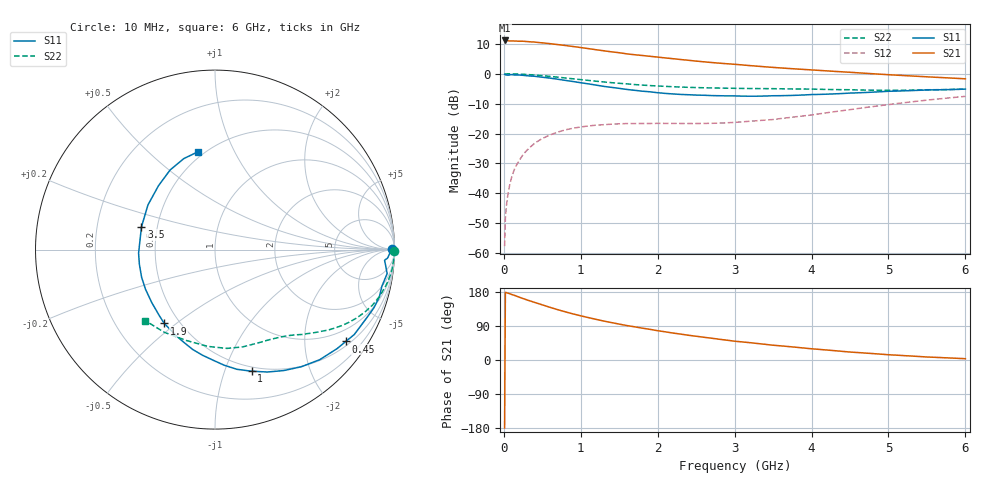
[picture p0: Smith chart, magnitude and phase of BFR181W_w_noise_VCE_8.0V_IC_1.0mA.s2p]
! Infineon Technologies  Discrete & RF Semiconductors
! BFR181W
! VCE =  8.0 V,  IC =  1.0 mA
! Common Emitter S-Parameters:  Jan 2017
# GHz  S  MA  R  50
!  f  S11  S21  S12  S22
! GHz  MAG  ANG  MAG  ANG  MAG  ANG  MAG  ANG
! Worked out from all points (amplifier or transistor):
!   77 points, 10 MHz to 6 GHz, reference 50 ohm
!   highest |S21| = 11.2 dB at 10 MHz (marker M1)
!   |S21| within 3 dB of that: start of sweep to 1.171 GHz
!   unconditionally stable (mu >= 1): 2.364 GHz to 4.321 GHz
!   at 130 MHz: K = 0.04, MSG = 21.7 dB, |S12| = -32.5 dB
!   at 2.2 GHz: K = 0.94, MSG = 10.8 dB, |S12| = -16.6 dB
!   at 6 GHz: K = 0.83, MSG = 2.9 dB, |S12| = -7.6 dB
!   lowest NFmin = 0.87 dB at 450 MHz
!   S11 on the Smith chart (normalised r, x): 10 MHz: open; 450 MHz: 0.62, -3.05; 1 GHz: 0.46, -1.24; 1.9 GHz: 0.41, -0.45; 3.5 GHz: 0.41, +0.13; 6 GHz: 0.46, +0.73
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0.01  0.9843 0.1  3.614 -179.5  0.0013 85.4  1 -0.5
0.02  0.9628 -2.8  3.576 178.6  0.0038 100.6  0.9946 -0.7
0.03  0.9574 -3.1  3.571 178.0  0.0055 92.0  0.9961 -1.1
0.06  0.9506 -4.5  3.557 176.0  0.0108 85.1  0.9986 -2.4
0.11  0.9647 -8.8  3.544 172.4  0.02 85.1  0.9952 -4.5
0.25  0.943 -20.1  3.507 162.2  0.0444 76.7  0.981 -10.1
0.45  0.8904 -35.1  3.34 148.8  0.0754 67.1  0.9415 -17.6
0.6  0.8467 -46.4  3.197 139.0  0.0948 60.5  0.9047 -22.6
0.7  0.8108 -53.6  3.081 132.8  0.1055 56.7  0.878 -25.6
0.8  0.7756 -60.3  2.978 127.1  0.1152 53.1  0.8503 -28.4
1  0.7079 -73.2  2.75 116.6  0.1286 46.9  0.7981 -33.2
1.1  0.6781 -79.6  2.638 111.8  0.1339 44.5  0.7749 -35.3
1.3  0.6153 -91.2  2.427 102.7  0.1406 39.9  0.7302 -39.1
1.5  0.57 -102.6  2.253 94.7  0.1453 37.1  0.6926 -42.6
1.9  0.4992 -124.5  1.962 80.9  0.1472 34.1  0.6346 -48.9
2.1  0.4691 -134.8  1.842 74.3  0.1477 34.0  0.6156 -51.9
2.5  0.4401 -154.7  1.632 62.7  0.1472 36.2  0.5879 -58.4
3.1  0.4226 178.7  1.406 47.7  0.1569 43.8  0.5688 -67.6
3.5  0.4288 162.8  1.279 39.0  0.1716 49.4  0.5636 -74.2
4.1  0.4517 143.2  1.139 28.0  0.2135 54.7  0.5501 -85.3
5.1  0.5132 117.2  0.949 12.8  0.316 53.2  0.5303 -110.3
6  0.5534 99.9  0.824 3.4  0.419 44.9  0.5545 -134.3
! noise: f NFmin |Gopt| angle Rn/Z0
0.45  0.87  0.69  18  0.51
0.9  0.95  0.64  36  0.47
1.9  1.56  0.44  83  0.32
2.4  1.81  0.38  99  0.34
